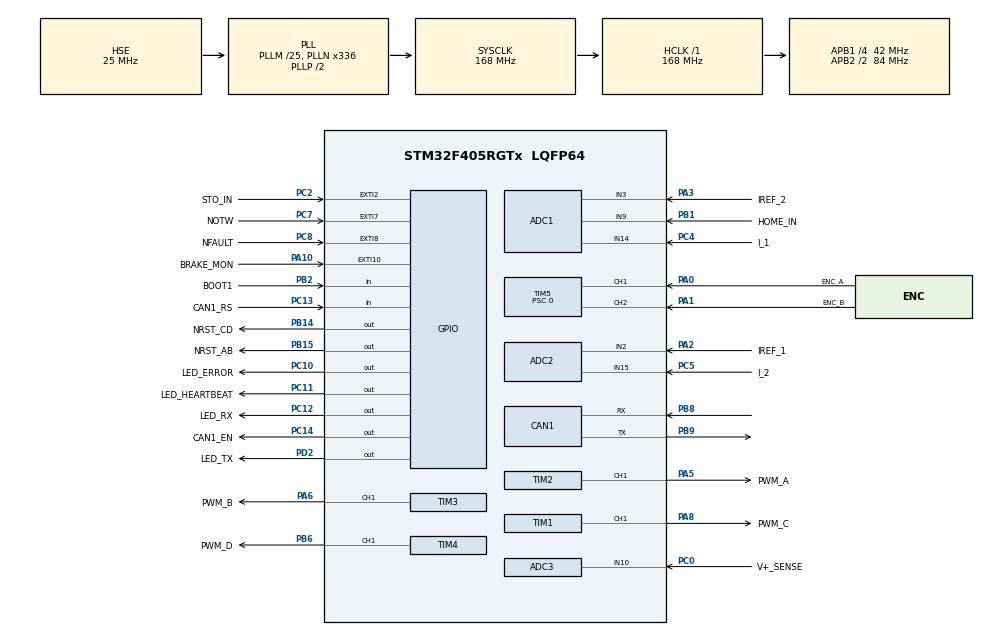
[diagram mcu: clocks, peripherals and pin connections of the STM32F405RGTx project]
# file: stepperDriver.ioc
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ADC1.Channel-5\#ChannelRegularConversion=ADC_CHANNEL_14
ADC1.Channel-8\#ChannelRegularConversion=ADC_CHANNEL_3
ADC1.Channel-9\#ChannelRegularConversion=ADC_CHANNEL_9
ADC1.ClockPrescaler=ADC_CLOCK_SYNC_PCLK_DIV4
ADC1.ContinuousConvMode=ENABLE
ADC1.DMAContinuousRequests=ENABLE
ADC1.ExternalTrigConv=ADC_EXTERNALTRIGCONV_T2_TRGO
ADC1.InjNumberOfConversion=0
ADC1.NbrOfConversion=3
ADC1.NbrOfConversionFlag=1
ADC1.Rank-5\#ChannelRegularConversion=1
ADC1.Rank-8\#ChannelRegularConversion=2
ADC1.Rank-9\#ChannelRegularConversion=3
ADC1.SamplingTime-5\#ChannelRegularConversion=ADC_SAMPLETIME_480CYCLES
ADC1.SamplingTime-8\#ChannelRegularConversion=ADC_SAMPLETIME_480CYCLES
ADC1.SamplingTime-9\#ChannelRegularConversion=ADC_SAMPLETIME_56CYCLES
ADC1.master=1
ADC2.Channel-1\#ChannelRegularConversion=ADC_CHANNEL_15
ADC2.Channel-2\#ChannelRegularConversion=ADC_CHANNEL_2
ADC2.ContinuousConvMode=ENABLE
ADC2.DMAContinuousRequests=ENABLE
ADC2.ExternalTrigConv=ADC_EXTERNALTRIGCONV_T2_TRGO
ADC2.NbrOfConversion=2
ADC2.NbrOfConversionFlag=1
ADC2.Rank-1\#ChannelRegularConversion=1
ADC2.Rank-2\#ChannelRegularConversion=2
ADC2.SamplingTime-1\#ChannelRegularConversion=ADC_SAMPLETIME_480CYCLES
ADC2.SamplingTime-2\#ChannelRegularConversion=ADC_SAMPLETIME_480CYCLES
ADC3.Channel-2\#ChannelRegularConversion=ADC_CHANNEL_10
ADC3.ContinuousConvMode=ENABLE
ADC3.DMAContinuousRequests=ENABLE
ADC3.ExternalTrigConv=ADC_SOFTWARE_START
ADC3.NbrOfConversionFlag=1
ADC3.Rank-2\#ChannelRegularConversion=1
ADC3.SamplingTime-2\#ChannelRegularConversion=ADC_SAMPLETIME_144CYCLES
ADC3.ScanConvMode=DISABLE
CAN1.BS1=CAN_BS1_1TQ
CAN1.BS2=CAN_BS2_1TQ
CAN1.CalculateTimeQuantum=380.95238095238096
Dma.ADC1.0.Direction=DMA_PERIPH_TO_MEMORY
Dma.ADC1.0.FIFOMode=DMA_FIFOMODE_DISABLE
Dma.ADC1.0.Instance=DMA2_Stream0
Dma.ADC1.0.MemDataAlignment=DMA_MDATAALIGN_HALFWORD
Dma.ADC1.0.MemInc=DMA_MINC_ENABLE
Dma.ADC1.0.Mode=DMA_CIRCULAR
Dma.ADC1.0.PeriphDataAlignment=DMA_PDATAALIGN_HALFWORD
Dma.ADC1.0.PeriphInc=DMA_PINC_DISABLE
Dma.ADC1.0.Priority=DMA_PRIORITY_LOW
Dma.ADC2.1.Direction=DMA_PERIPH_TO_MEMORY
Dma.ADC2.1.FIFOMode=DMA_FIFOMODE_DISABLE
Dma.ADC2.1.Instance=DMA2_Stream2
Dma.ADC2.1.MemDataAlignment=DMA_MDATAALIGN_HALFWORD
Dma.ADC2.1.MemInc=DMA_MINC_ENABLE
Dma.ADC2.1.Mode=DMA_CIRCULAR
Dma.ADC2.1.PeriphDataAlignment=DMA_PDATAALIGN_HALFWORD
Dma.ADC2.1.PeriphInc=DMA_PINC_DISABLE
Dma.ADC2.1.Priority=DMA_PRIORITY_LOW
Dma.ADC3.2.Direction=DMA_PERIPH_TO_MEMORY
Dma.ADC3.2.FIFOMode=DMA_FIFOMODE_DISABLE
Dma.ADC3.2.Instance=DMA2_Stream1
Dma.ADC3.2.MemDataAlignment=DMA_MDATAALIGN_HALFWORD
Dma.ADC3.2.MemInc=DMA_MINC_ENABLE
Dma.ADC3.2.Mode=DMA_CIRCULAR
Dma.ADC3.2.PeriphDataAlignment=DMA_PDATAALIGN_HALFWORD
Dma.ADC3.2.PeriphInc=DMA_PINC_DISABLE
Dma.ADC3.2.Priority=DMA_PRIORITY_LOW
Dma.Request0=ADC1
Dma.Request1=ADC2
Dma.Request2=ADC3
Mcu.Family=STM32F4
Mcu.Name=STM32F405RGTx
Mcu.Package=LQFP64
NVIC.DMA2_Stream0_IRQn=true\:0\:0\:false\:false\:true\:false\:true
NVIC.DMA2_Stream1_IRQn=true\:0\:0\:false\:false\:true\:false\:true
NVIC.DMA2_Stream2_IRQn=true\:0\:0\:false\:false\:true\:false\:true
NVIC.EXTI15_10_IRQn=true\:0\:0\:false\:false\:true\:true\:true
NVIC.EXTI2_IRQn=true\:0\:0\:false\:false\:true\:true\:true
NVIC.EXTI9_5_IRQn=true\:0\:0\:false\:false\:true\:true\:true
NVIC.PriorityGroup=NVIC_PRIORITYGROUP_4
NVIC.TIM6_DAC_IRQn=true\:0\:0\:false\:false\:true\:false\:true
NVIC.TIM8_UP_TIM13_IRQn=true\:0\:0\:false\:false\:true\:true\:true
NVIC.TimeBase=TIM6_DAC_IRQn
NVIC.TimeBaseIP=TIM6
PA0-WKUP.GPIO_Label=ENC_A
PA0-WKUP.GPIO_PuPd=GPIO_PULLUP
PA0-WKUP.Signal=S_TIM5_CH1
PA1.GPIO_Label=ENC_B
PA1.GPIO_PuPd=GPIO_PULLUP
PA1.Signal=S_TIM5_CH2
PA10.GPIO_Label=BRAKE_MON
PA10.GPIO_ModeDefaultEXTI=GPIO_MODE_IT_RISING_FALLING
PA10.Signal=GPXTI10
PA13.Mode=Trace_Asynchronous_SW
PA13.Signal=SYS_JTMS-SWDIO
PA14.Mode=Trace_Asynchronous_SW
PA14.Signal=SYS_JTCK-SWCLK
PA2.GPIO_Label=IREF_1
PA2.Signal=ADCx_IN2
PA3.GPIO_Label=IREF_2
PA3.Signal=ADCx_IN3
PA5.GPIO_Label=PWM_A
PA5.Signal=S_TIM2_CH1_ETR
PA6.GPIO_Label=PWM_B
PA6.Signal=S_TIM3_CH1
PA8.GPIO_Label=PWM_C
PA8.Signal=S_TIM1_CH1
PB1.GPIO_Label=HOME_IN
PB1.Signal=ADCx_IN9
PB14.GPIO_Label=NRST_CD
PB14.Signal=GPIO_Output
PB15.GPIO_Label=NRST_AB
PB15.Signal=GPIO_Output
PB2.GPIO_Label=BOOT1
PB2.Signal=GPIO_Input
PB3.Mode=Trace_Asynchronous_SW
PB3.Signal=SYS_JTDO-SWO
PB6.GPIO_Label=PWM_D
PB6.Signal=S_TIM4_CH1
PB8.Mode=Master
PB8.Signal=CAN1_RX
PB9.Mode=Master
PB9.Signal=CAN1_TX
PC0.GPIO_Label=V+_SENSE
PC0.Signal=ADCx_IN10
PC10.GPIO_Label=LED_ERROR
PC10.PinState=GPIO_PIN_SET
PC10.Signal=GPIO_Output
PC11.GPIO_Label=LED_HEARTBEAT
PC11.PinState=GPIO_PIN_SET
PC11.Signal=GPIO_Output
PC12.GPIO_Label=LED_RX
PC12.PinState=GPIO_PIN_SET
PC12.Signal=GPIO_Output
PC13-ANTI_TAMP.GPIO_Label=CAN1_RS
PC13-ANTI_TAMP.Signal=GPIO_Input
PC14-OSC32_IN.GPIO_Label=CAN1_EN
PC14-OSC32_IN.Signal=GPIO_Output
PC2.GPIO_Label=STO_IN
PC2.GPIO_ModeDefaultEXTI=GPIO_MODE_IT_RISING_FALLING
PC2.Signal=GPXTI2
PC4.GPIO_Label=I_1
PC4.Signal=ADCx_IN14
PC5.GPIO_Label=I_2
PC5.Signal=ADCx_IN15
PC7.GPIO_Label=NOTW
PC7.GPIO_ModeDefaultEXTI=GPIO_MODE_IT_RISING_FALLING
PC7.Signal=GPXTI7
PC8.GPIO_Label=NFAULT
PC8.GPIO_ModeDefaultEXTI=GPIO_MODE_IT_RISING_FALLING
PC8.Signal=GPXTI8
PD2.GPIO_Label=LED_TX
PD2.PinState=GPIO_PIN_SET
PD2.Signal=GPIO_Output
PH0-OSC_IN.Mode=HSE-External-Oscillator
PH0-OSC_IN.Signal=RCC_OSC_IN
PH1-OSC_OUT.Mode=HSE-External-Oscillator
PH1-OSC_OUT.Signal=RCC_OSC_OUT
ProjectManager.HeapSize=0x200
ProjectManager.StackSize=0x400
ProjectManager.TargetToolchain=STM32CubeIDE
RCC.48MHZClocksFreq_Value=84000000
RCC.AHBFreq_Value=168000000
RCC.APB1CLKDivider=RCC_HCLK_DIV4
RCC.APB1Freq_Value=42000000
RCC.APB1TimFreq_Value=84000000
RCC.APB2CLKDivider=RCC_HCLK_DIV2
RCC.APB2Freq_Value=84000000
RCC.APB2TimFreq_Value=168000000
RCC.CortexFreq_Value=168000000
RCC.HCLKFreq_Value=168000000
RCC.HSE_VALUE=25000000
RCC.HSI_VALUE=16000000
RCC.LSE_VALUE=32768
RCC.PLLM=25
RCC.PLLN=336
RCC.PLLSourceVirtual=RCC_PLLSOURCE_HSE
RCC.SYSCLKFreq_VALUE=168000000
RCC.SYSCLKSource=RCC_SYSCLKSOURCE_PLLCLK
RCC.VCOOutputFreq_Value=336000000
SH.ADCx_IN10.0=ADC3_IN10,IN10
SH.ADCx_IN14.0=ADC1_IN14,IN14
SH.ADCx_IN15.0=ADC2_IN15,IN15
SH.ADCx_IN2.0=ADC2_IN2,IN2
SH.ADCx_IN3.0=ADC1_IN3,IN3
SH.ADCx_IN9.0=ADC1_IN9,IN9
SH.S_TIM1_CH1.0=TIM1_CH1,PWM Generation1 CH1
SH.S_TIM2_CH1_ETR.0=TIM2_CH1,PWM Generation1 CH1
SH.S_TIM3_CH1.0=TIM3_CH1,PWM Generation1 CH1
SH.S_TIM4_CH1.0=TIM4_CH1,PWM Generation1 CH1
SH.S_TIM5_CH1.0=TIM5_CH1,Encoder_Interface
SH.S_TIM5_CH2.0=TIM5_CH2,Encoder_Interface
TIM1.Channel-PWM\ Generation1\ CH1=TIM_CHANNEL_1
TIM1.Period=840-1
TIM1.Prescaler=0
TIM1.TIM_MasterOutputTrigger=TIM_TRGO_RESET
TIM1.TIM_MasterSlaveMode=TIM_MASTERSLAVEMODE_DISABLE
TIM2.Channel-PWM\ Generation1\ CH1=TIM_CHANNEL_1
TIM2.Period=840-1
TIM2.Prescaler=0
TIM2.TIM_MasterOutputTrigger=TIM_TRGO_UPDATE
TIM2.TIM_MasterSlaveMode=TIM_MASTERSLAVEMODE_ENABLE
TIM3.Channel-PWM\ Generation1\ CH1=TIM_CHANNEL_1
TIM3.Period=840-1
TIM3.Prescaler=0
TIM3.Pulse-PWM\ Generation1\ CH1=0
TIM4.Channel-PWM\ Generation1\ CH1=TIM_CHANNEL_1
TIM4.Period=840-1
TIM4.Prescaler=0
TIM4.Pulse-PWM\ Generation1\ CH1=0
TIM5.EncoderMode=TIM_ENCODERMODE_TI12
TIM5.IC1Filter=5
TIM5.IC2Filter=5
TIM5.Period=0xffffffff
TIM5.Prescaler=0
TIM8.Channel-PWM\ Generation1\ No\ Output=TIM_CHANNEL_1
TIM8.Period=100-1
TIM8.Prescaler=168-1
TIM8.TIM_MasterOutputTrigger=TIM_TRGO_UPDATE
TIM8.TIM_MasterSlaveMode=TIM_MASTERSLAVEMODE_ENABLE
VP_SYS_VS_tim6.Mode=TIM6
VP_TIM8_VS_no_output1.Mode=PWM Generation1 No Output
board=custom

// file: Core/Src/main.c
/* USER CODE BEGIN Header */
/**
  ******************************************************************************
  * @file           : main.c
  * @brief          : Main program body
  ******************************************************************************
  * @attention
  *
  * <h2><center>&copy; Copyright (c) 2020 STMicroelectronics.
  * All rights reserved.</center></h2>
  *
  * This software component is licensed by ST under BSD 3-Clause license,
  * the "License"; You may not use this file except in compliance with the
  * License. You may obtain a copy of the License at:
  *                        opensource.org/licenses/BSD-3-Clause
  *
  ******************************************************************************
  */
/* USER CODE END Header */
#include "main.h"
#include "adc.h"
#include "can.h"
#include "dma.h"
#include "tim.h"
#include "gpio.h"

/* USER CODE BEGIN Includes */
#include <stdio.h>
#include <stdlib.h>
#include <math.h>
/* USER CODE END Includes */

/* USER CODE BEGIN PD */
#define VOLTAGE_SENSE_DIVIDER 11.0
#define CURRENT_SENSE_AMP 50.0

#define EXECUTION_PERIOD_MS 1			//Execution period in ms
#define LED_TOGGLE_PERIOD_MS 1000		//Toggle of Heartbeat LED
#define LED_PULSE 10

#define PWM_PULSE_PERIOD 840

#define MICROSTEPPING_STEPS 1024

#define CURRENT_LIMIT 1500				// UNIT mA
#define SPEED_MAX 10000.0
/* USER CODE END PD */

/* USER CODE BEGIN PV */

int targetPos = 0;
int encoderPosition = 0;
int lastEncoderPosition = 0;

double targetSpeed = 0.0;
double encoderSpeed = 0.0;

uint16_t ADC1Buffer[3];
uint16_t ADC2Buffer[2];
uint16_t ADC3Buffer[1];

int busVoltage = 0; // unit mV
int current[2];  	// unit mA

int targetCurrent[2];
int currentError[2];

double outputSignal[2];

double targetVoltage[4];

uint32_t pwmPulse[4];

uint32_t lastCycleTick = 0;
uint32_t lastLEDTick = 0;

double waveFormCounter = 0.0;
uint32_t wavePatternLength = 0;
double sinLookup[MICROSTEPPING_STEPS];
double cosLookup[MICROSTEPPING_STEPS];

int CURRENT_FAULT = 0;
int VOLTAGE_FAULT = 0;
int TEMP_FAULT = 0;
int BRAKE_MON = 0;
int ERROR_FLAG = 0;
int STO_IN = 0;
int STO_Latch = 0;

int LED_FLAG = 0;
/* USER CODE END PV */

void SystemClock_Config(void);
/* USER CODE BEGIN PFP */
void initializePeripherals(void);
void measure(void);
void positionControl(void);
void calculateSpeed(void);
void speedControl(void);
void currentControl(void);
void voltageAdjust(void);
void output(void);
void errorHandling(void);
void loop(void);
/* USER CODE END PFP */

int main(void)
{

  /* MCU Configuration--------------------------------------------------------*/

  /* Reset of all peripherals, Initializes the Flash interface and the Systick. */
  HAL_Init();

  /* Configure the system clock */
  SystemClock_Config();

  /* USER CODE BEGIN SysInit */
  lastCycleTick = HAL_GetTick();
  lastLEDTick = HAL_GetTick();
  /* USER CODE END SysInit */

  /* Initialize all configured peripherals */
  MX_GPIO_Init();
  MX_DMA_Init();
  MX_ADC1_Init();
  MX_ADC2_Init();
  MX_CAN1_Init();
  MX_TIM1_Init();
  MX_TIM2_Init();
  MX_TIM3_Init();
  MX_TIM4_Init();
  MX_TIM5_Init();
  MX_ADC3_Init();
  MX_TIM8_Init();
  /* USER CODE BEGIN 2 */
  initializePeripherals();

  /* USER CODE END 2 */

  /* Infinite loop */
  while (1)
  {

  }
}

void SystemClock_Config(void)
{
  RCC_OscInitTypeDef RCC_OscInitStruct = {0};
  RCC_ClkInitTypeDef RCC_ClkInitStruct = {0};

  /** Configure the main internal regulator output voltage
  */
  __HAL_RCC_PWR_CLK_ENABLE();
  __HAL_PWR_VOLTAGESCALING_CONFIG(PWR_REGULATOR_VOLTAGE_SCALE1);
  /** Initializes the RCC Oscillators according to the specified parameters
  * in the RCC_OscInitTypeDef structure.
  */
  RCC_OscInitStruct.OscillatorType = RCC_OSCILLATORTYPE_HSE;
  RCC_OscInitStruct.HSEState = RCC_HSE_ON;
  RCC_OscInitStruct.PLL.PLLState = RCC_PLL_ON;
  RCC_OscInitStruct.PLL.PLLSource = RCC_PLLSOURCE_HSE;
  RCC_OscInitStruct.PLL.PLLM = 25;
  RCC_OscInitStruct.PLL.PLLN = 336;
  RCC_OscInitStruct.PLL.PLLP = RCC_PLLP_DIV2;
  RCC_OscInitStruct.PLL.PLLQ = 4;
  if (HAL_RCC_OscConfig(&RCC_OscInitStruct) != HAL_OK)
  {
    Error_Handler();
  }
  /** Initializes the CPU, AHB and APB buses clocks
  */
  RCC_ClkInitStruct.ClockType = RCC_CLOCKTYPE_HCLK|RCC_CLOCKTYPE_SYSCLK
                              |RCC_CLOCKTYPE_PCLK1|RCC_CLOCKTYPE_PCLK2;
  RCC_ClkInitStruct.SYSCLKSource = RCC_SYSCLKSOURCE_PLLCLK;
  RCC_ClkInitStruct.AHBCLKDivider = RCC_SYSCLK_DIV1;
  RCC_ClkInitStruct.APB1CLKDivider = RCC_HCLK_DIV4;
  RCC_ClkInitStruct.APB2CLKDivider = RCC_HCLK_DIV2;

  if (HAL_RCC_ClockConfig(&RCC_ClkInitStruct, FLASH_LATENCY_5) != HAL_OK)
  {
    Error_Handler();
  }
}

/* USER CODE BEGIN 4 */

/* LOOP function called every 100us by TIM7 */
void loop(void){
	if(HAL_GetTick() >= lastCycleTick + EXECUTION_PERIOD_MS)
	{
		lastCycleTick = HAL_GetTick();

		if(HAL_GetTick() > lastLEDTick + LED_TOGGLE_PERIOD_MS)
		{
			lastLEDTick = HAL_GetTick();
			HAL_GPIO_WritePin(GPIOC, LED_HEARTBEAT_Pin, GPIO_PIN_RESET);
			LED_FLAG = 1;
			if(lastLEDTick % 2 == 0)
			{
				if( !ERROR_FLAG )
					targetPos = 0;
				else
					targetPos = encoderPosition;
			}
			else
			{
				if( !ERROR_FLAG )
					targetPos = -3000;
				else
					targetPos = encoderPosition;
			}

		}

		LED_FLAG ++;
		if(LED_FLAG > LED_PULSE)
		{
			HAL_GPIO_WritePin(GPIOC, LED_HEARTBEAT_Pin, GPIO_PIN_SET);
			LED_FLAG = 0;
		}

		/* calculate current Speed */
		calculateSpeed();

		/* position Controller */
		positionControl();

		/* error handling */
		errorHandling();
	}

	/* measure the current values */
	measure();

	/* speed Controller */
	speedControl();

	/* current Controller */
	currentControl();

	/* adjust output Voltages to Bus Voltage */
	voltageAdjust();

	/* output PWM  */
	output();

}

void initializePeripherals(void)
{

	/* Calculate SIN and COS Lookup */
	for( int i = 0; i < MICROSTEPPING_STEPS; i ++)
	{
		sinLookup[i] = sin( ( (double) i / (double) MICROSTEPPING_STEPS ) * 2 * M_PI );
		cosLookup[i] = cos( ( (double) i / (double) MICROSTEPPING_STEPS ) * 2 * M_PI );
	}

	/* read initial states of GPIO */
	CURRENT_FAULT = HAL_GPIO_ReadPin(GPIOC, NFAULT_Pin);
	TEMP_FAULT = HAL_GPIO_ReadPin(GPIOC, NOTW_Pin);
	BRAKE_MON = HAL_GPIO_ReadPin(BRAKE_MON_GPIO_Port, BRAKE_MON_Pin);
	STO_IN = HAL_GPIO_ReadPin(STO_IN_GPIO_Port, STO_IN_Pin);

	/* ADCs */
	HAL_ADC_Start_DMA(&hadc3, (uint32_t*)ADC3Buffer, 1);
	HAL_ADC_Start_DMA(&hadc1, (uint32_t*)ADC1Buffer, 3);
	HAL_ADC_Start_DMA(&hadc2, (uint32_t*)ADC2Buffer, 2);

	/* Timers */
	HAL_TIM_PWM_Start(&htim1, TIM_CHANNEL_1);
	HAL_TIM_PWM_Start(&htim2, TIM_CHANNEL_1);
	HAL_TIM_PWM_Start(&htim3, TIM_CHANNEL_1);
	HAL_TIM_PWM_Start(&htim4, TIM_CHANNEL_1);

	HAL_TIM_Encoder_Start(&htim5,TIM_CHANNEL_ALL);

	/* Start timer for loop triggering */
	HAL_TIM_Base_Start_IT(&htim8);

}

void measure(void)
{
	encoderPosition = TIM5->CNT;

	uint32_t rawBusVoltage = ADC3Buffer[0];

	int rawCurrent1 = ADC1Buffer[0];
	int rawCurrent2 = ADC2Buffer[0];

	int rawRefCurrent1 = ADC1Buffer[1];
	int rawRefCurrent2 = ADC2Buffer[1];

	current[0] = ( ( (double)(rawCurrent1 - rawRefCurrent1) * (3300.0 / 4096.0) ) / CURRENT_SENSE_AMP ) / 0.01;
	current[1] = ( ( (double)(rawCurrent2 - rawRefCurrent2) * (3300.0 / 4096.0) ) / CURRENT_SENSE_AMP ) / 0.01;

	busVoltage = ( rawBusVoltage * (3.3 / 4096.0) ) * VOLTAGE_SENSE_DIVIDER * 1000; //unit mV

	if(busVoltage > 12500 && busVoltage < 26000 )
		VOLTAGE_FAULT = 1;
	else
		VOLTAGE_FAULT = 0;
}

void positionControl(void)
{
	double posGain = 15;
	double posError = targetPos - encoderPosition;

	targetSpeed = posError * posGain;
}

void calculateSpeed(void)
{
	encoderSpeed = encoderPosition - lastEncoderPosition;
	encoderSpeed = encoderSpeed / 0.1;

	lastEncoderPosition = encoderPosition;

}

void speedControl(void)
{
	if(targetSpeed > SPEED_MAX)
		targetSpeed = SPEED_MAX;

	if(targetSpeed < - SPEED_MAX)
		targetSpeed = - SPEED_MAX;

	double speedGain = 0.002;
	double speedError = targetSpeed - encoderSpeed;

	targetCurrent[0] = cosLookup[ (int)waveFormCounter ] * CURRENT_LIMIT;
	targetCurrent[1] = sinLookup[ (int)waveFormCounter ] * CURRENT_LIMIT;

	waveFormCounter += speedError * speedGain;
	if( waveFormCounter >= MICROSTEPPING_STEPS)
		waveFormCounter = 0;
	if( waveFormCounter < 0)
			waveFormCounter = MICROSTEPPING_STEPS;
}

void currentControl(void)
{

	double currentGain = 0.008;
	for(int i = 0; i < 2; i++)
	{
		currentError[i] = targetCurrent[i] - current[i];
		outputSignal[i] = currentGain * (double)currentError[i];

		if(outputSignal[i] >= 0)
		{
			targetVoltage[i*2] = 0;
			targetVoltage[i*2+1] = outputSignal[i];
		}
		if(outputSignal[i] < 0)
		{
			targetVoltage[i*2] = outputSignal[i];
			targetVoltage[i*2+1] = 0;
		}
	}

}

void voltageAdjust(void)
{

	for(int i = 0; i < 4; i++)
	{
		pwmPulse[i] = abs( (double)PWM_PULSE_PERIOD *   targetVoltage[i] / ( busVoltage * 0.001 ) );

		if(pwmPulse[i] > PWM_PULSE_PERIOD)
			pwmPulse[i] = PWM_PULSE_PERIOD;
	}

}

void output(void)
{
	/* set the reset pins high according to the pwm Command values */
	if( ( pwmPulse[0] >= 0 || pwmPulse[1] >= 0) && ERROR_FLAG == 0 )
	{
		HAL_GPIO_WritePin(GPIOB, NRST_CD_Pin|NRST_AB_Pin, GPIO_PIN_SET);
	}
	else
	{
		HAL_GPIO_WritePin(GPIOB, NRST_CD_Pin|NRST_AB_Pin, GPIO_PIN_RESET);
	}

	if( ( pwmPulse[2] >= 0 || pwmPulse[3] >= 0) && ERROR_FLAG == 0 )
	{
		HAL_GPIO_WritePin(GPIOB, NRST_CD_Pin|NRST_AB_Pin, GPIO_PIN_SET);
	}
	else
	{
		HAL_GPIO_WritePin(GPIOB, NRST_CD_Pin|NRST_AB_Pin, GPIO_PIN_RESET);
	}

	/* set the pulse values of the individual PWM outputs */

	//PWM C matches TIMER 1
	htim1.Instance->CCR1 = pwmPulse[2];

	//PWM A matches TIMER 2
	htim2.Instance->CCR1 = pwmPulse[0];

	//PWM B matches TIMER 3
	htim3.Instance->CCR1 = pwmPulse[1];

	//PWM D matches TIMER 4
	htim4.Instance->CCR1 = pwmPulse[3];

}

void HAL_GPIO_EXTI_Callback(uint16_t GPIO_Pin)
{
	switch ( GPIO_Pin )
	{
		case NFAULT_Pin:
			CURRENT_FAULT = HAL_GPIO_ReadPin(GPIOC, NFAULT_Pin);
			break;
		case NOTW_Pin:
			TEMP_FAULT = HAL_GPIO_ReadPin(GPIOC, NOTW_Pin);
			break;
		case BRAKE_MON_Pin:
			BRAKE_MON = HAL_GPIO_ReadPin(BRAKE_MON_GPIO_Port, BRAKE_MON_Pin);
			break;
		case STO_IN_Pin:
			STO_IN = HAL_GPIO_ReadPin(STO_IN_GPIO_Port, STO_IN_Pin);
			break;
	}

}

void errorHandling(void)
{
	if( CURRENT_FAULT == 0 || TEMP_FAULT == 0 || STO_IN == 0 || VOLTAGE_FAULT == 0)
	{
		ERROR_FLAG = 1;
		HAL_GPIO_WritePin(GPIOC, LED_ERROR_Pin, GPIO_PIN_RESET);
	}
	else
	{
		ERROR_FLAG = 0;
		HAL_GPIO_WritePin(GPIOC, LED_ERROR_Pin, GPIO_PIN_SET);
	}
}
/* USER CODE END 4 */

void HAL_TIM_PeriodElapsedCallback(TIM_HandleTypeDef *htim)
{
  if (htim->Instance == TIM6) {
    HAL_IncTick();
  }
  /* USER CODE BEGIN Callback 1 */
  if (htim->Instance == TIM8) {
	  loop();
  }
  /* USER CODE END Callback 1 */
}

void Error_Handler(void)
{
  /* USER CODE BEGIN Error_Handler_Debug */
  /* User can add his own implementation to report the HAL error return state */
	HAL_GPIO_WritePin(GPIOC, LED_ERROR_Pin, GPIO_PIN_RESET);
  /* USER CODE END Error_Handler_Debug */
}

/************************ (C) COPYRIGHT STMicroelectronics *****END OF FILE****/
